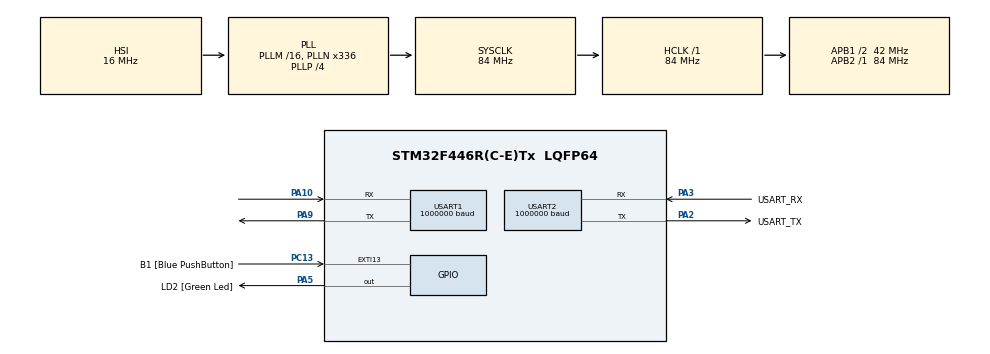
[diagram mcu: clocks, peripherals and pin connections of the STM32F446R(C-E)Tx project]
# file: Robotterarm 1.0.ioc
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Dma.Request0=USART1_RX
Dma.USART1_RX.0.Direction=DMA_PERIPH_TO_MEMORY
Dma.USART1_RX.0.FIFOMode=DMA_FIFOMODE_DISABLE
Dma.USART1_RX.0.Instance=DMA2_Stream2
Dma.USART1_RX.0.MemDataAlignment=DMA_MDATAALIGN_BYTE
Dma.USART1_RX.0.MemInc=DMA_MINC_ENABLE
Dma.USART1_RX.0.Mode=DMA_NORMAL
Dma.USART1_RX.0.PeriphDataAlignment=DMA_PDATAALIGN_BYTE
Dma.USART1_RX.0.PeriphInc=DMA_PINC_DISABLE
Dma.USART1_RX.0.Priority=DMA_PRIORITY_LOW
Mcu.Family=STM32F4
Mcu.Name=STM32F446R(C-E)Tx
Mcu.Package=LQFP64
NVIC.DMA2_Stream2_IRQn=true\:0\:0\:false\:false\:true\:false\:true\:true
NVIC.PriorityGroup=NVIC_PRIORITYGROUP_0
NVIC.TIM4_IRQn=true\:0\:0\:false\:false\:true\:true\:true\:true
NVIC.USART1_IRQn=true\:0\:0\:false\:false\:true\:true\:true\:true
PA10.Mode=Asynchronous
PA10.Signal=USART1_RX
PA13.GPIO_Label=TMS
PA13.Mode=Serial_Wire
PA13.Signal=SYS_JTMS-SWDIO
PA14.GPIO_Label=TCK
PA14.Mode=Serial_Wire
PA14.Signal=SYS_JTCK-SWCLK
PA2.GPIO_Label=USART_TX
PA2.Mode=Asynchronous
PA2.Signal=USART2_TX
PA3.GPIO_Label=USART_RX
PA3.Mode=Asynchronous
PA3.Signal=USART2_RX
PA5.GPIO_Label=LD2 [Green Led]
PA5.Signal=GPIO_Output
PA9.Mode=Asynchronous
PA9.Signal=USART1_TX
PB3.GPIO_Label=SWO
PB3.Signal=SYS_JTDO-SWO
PC13.GPIO_Label=B1 [Blue PushButton]
PC13.GPIO_ModeDefaultEXTI=GPIO_MODE_IT_FALLING
PC13.Signal=GPXTI13
PC14-OSC32_IN.Mode=LSE-External-Oscillator
PC14-OSC32_IN.Signal=RCC_OSC32_IN
PC15-OSC32_OUT.Mode=LSE-External-Oscillator
PC15-OSC32_OUT.Signal=RCC_OSC32_OUT
PH0-OSC_IN.Mode=HSE-External-Oscillator
PH0-OSC_IN.Signal=RCC_OSC_IN
PH1-OSC_OUT.Mode=HSE-External-Oscillator
PH1-OSC_OUT.Signal=RCC_OSC_OUT
ProjectManager.HeapSize=0x200
ProjectManager.StackSize=0x400
ProjectManager.TargetToolchain=STM32CubeIDE
RCC.48MHZClocksFreq_Value=84000000
RCC.AHBFreq_Value=84000000
RCC.APB1CLKDivider=RCC_HCLK_DIV2
RCC.APB1Freq_Value=42000000
RCC.APB1TimFreq_Value=84000000
RCC.APB2Freq_Value=84000000
RCC.APB2TimFreq_Value=84000000
RCC.CortexFreq_Value=84000000
RCC.FLatency-AdvancedSettings=FLASH_LATENCY_2
RCC.HCLKFreq_Value=84000000
RCC.HSE_VALUE=8000000
RCC.HSI_VALUE=16000000
RCC.PLLN=336
RCC.PLLP=RCC_PLLP_DIV4
RCC.SYSCLKFreq_VALUE=84000000
RCC.SYSCLKSource=RCC_SYSCLKSOURCE_PLLCLK
RCC.USBFreq_Value=168000000
RCC.VCOOutputFreq_Value=336000000
TIM4.Period=199
TIM4.Prescaler=8999
USART1.BaudRate=1000000
USART1.VirtualMode=VM_ASYNC
USART2.BaudRate=1000000
USART2.VirtualMode=VM_ASYNC
VP_TIM4_VS_ClockSourceINT.Mode=Internal
board=NUCLEO-F446RE

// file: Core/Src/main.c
/* USER CODE BEGIN Header */
/**
  ******************************************************************************
  * @file           : main.c
  * @brief          : Main program body
  ******************************************************************************
  * @attention
  *
  * Copyright (c) 2026 STMicroelectronics.
  * All rights reserved.
  *
  * This software is licensed under terms that can be found in the LICENSE file
  * in the root directory of this software component.
  * If no LICENSE file comes with this software, it is provided AS-IS.
  *
  ******************************************************************************
  */
/* USER CODE END Header */
#include "main.h"

/* USER CODE BEGIN Includes */
#include <stdio.h>
#include <string.h>
#include "servo.h"

/* USER CODE END Includes */

TIM_HandleTypeDef htim4;

UART_HandleTypeDef huart1;
UART_HandleTypeDef huart2;
DMA_HandleTypeDef hdma_usart1_rx;

/* USER CODE BEGIN PV */
//timer
volatile uint8_t timer_20ms_trigger = 0;
// robot arm instance
ServoArm_t soarm101 = {
		.huart = &huart1,
		.servo_count = 6,
		.servo_first_id = 1
};
/* USER CODE END PV */

void SystemClock_Config(void);
static void MX_GPIO_Init(void);
static void MX_DMA_Init(void);
static void MX_USART1_UART_Init(void);
static void MX_USART2_UART_Init(void);
static void MX_TIM4_Init(void);

int main(void)
{

  /* MCU Configuration--------------------------------------------------------*/

  /* Reset of all peripherals, Initializes the Flash interface and the Systick. */
  HAL_Init();

  /* Configure the system clock */
  SystemClock_Config();

  /* Initialize all configured peripherals */
  MX_GPIO_Init();
  MX_DMA_Init();
  MX_USART1_UART_Init();
  MX_USART2_UART_Init();
  MX_TIM4_Init();
  /* USER CODE BEGIN 2 */
  HAL_Delay(2500);
  HAL_UART_Transmit(&huart2, (uint8_t*)"start\r\n", 7, HAL_MAX_DELAY);
  //start the DMA with interrupts
  HAL_UARTEx_ReceiveToIdle_DMA(soarm101.huart, soarm101.rx_buffer, sizeof(soarm101.rx_buffer));
  //start the tim4 with interrupts
  HAL_TIM_Base_Start_IT(&htim4);

//servo_zero_point_calibration();
//servo_min_max_calibration(motor_buffer, motor_buffer_ready);
//servo_max_torque_initialization();

  /* USER CODE END 2 */

  /* Infinite loop */
  /* USER CODE BEGIN WHILE */
  while (1)
  {
		//sorgt für einen konstanten 20ms Takt der while schleife
		while (timer_20ms_trigger == 0) {}
		timer_20ms_trigger = 0;

		//liest alle Daten der Servos aus
		servo_sync_read(&soarm101, SERVO_REG_CURRENT_LOCATION, 14);

		//schickt alle rellevanten daten alle 25 Zyklen (500ms) an das pc terminal
		terminal_print_servo_data(&soarm101);

		//move the arm
		float angle_2[6] = {35, 20, 20, 20, 20, 20};
		float angle[6] = {0, 0, 0, 0, 0, 0};
		servo_set_all_angle(&soarm101, angle);

		/* USER CODE END WHILE */

	}
}

void SystemClock_Config(void)
{
  RCC_OscInitTypeDef RCC_OscInitStruct = {0};
  RCC_ClkInitTypeDef RCC_ClkInitStruct = {0};

  /** Configure the main internal regulator output voltage
  */
  __HAL_RCC_PWR_CLK_ENABLE();
  __HAL_PWR_VOLTAGESCALING_CONFIG(PWR_REGULATOR_VOLTAGE_SCALE3);

  /** Initializes the RCC Oscillators according to the specified parameters
  * in the RCC_OscInitTypeDef structure.
  */
  RCC_OscInitStruct.OscillatorType = RCC_OSCILLATORTYPE_HSI;
  RCC_OscInitStruct.HSIState = RCC_HSI_ON;
  RCC_OscInitStruct.HSICalibrationValue = RCC_HSICALIBRATION_DEFAULT;
  RCC_OscInitStruct.PLL.PLLState = RCC_PLL_ON;
  RCC_OscInitStruct.PLL.PLLSource = RCC_PLLSOURCE_HSI;
  RCC_OscInitStruct.PLL.PLLM = 16;
  RCC_OscInitStruct.PLL.PLLN = 336;
  RCC_OscInitStruct.PLL.PLLP = RCC_PLLP_DIV4;
  RCC_OscInitStruct.PLL.PLLQ = 2;
  RCC_OscInitStruct.PLL.PLLR = 2;
  if (HAL_RCC_OscConfig(&RCC_OscInitStruct) != HAL_OK)
  {
    Error_Handler();
  }

  /** Initializes the CPU, AHB and APB buses clocks
  */
  RCC_ClkInitStruct.ClockType = RCC_CLOCKTYPE_HCLK|RCC_CLOCKTYPE_SYSCLK
                              |RCC_CLOCKTYPE_PCLK1|RCC_CLOCKTYPE_PCLK2;
  RCC_ClkInitStruct.SYSCLKSource = RCC_SYSCLKSOURCE_PLLCLK;
  RCC_ClkInitStruct.AHBCLKDivider = RCC_SYSCLK_DIV1;
  RCC_ClkInitStruct.APB1CLKDivider = RCC_HCLK_DIV2;
  RCC_ClkInitStruct.APB2CLKDivider = RCC_HCLK_DIV1;

  if (HAL_RCC_ClockConfig(&RCC_ClkInitStruct, FLASH_LATENCY_2) != HAL_OK)
  {
    Error_Handler();
  }
}

static void MX_TIM4_Init(void)
{

  TIM_ClockConfigTypeDef sClockSourceConfig = {0};
  TIM_MasterConfigTypeDef sMasterConfig = {0};

  htim4.Instance = TIM4;
  htim4.Init.Prescaler = 8999;
  htim4.Init.CounterMode = TIM_COUNTERMODE_UP;
  htim4.Init.Period = 199;
  htim4.Init.ClockDivision = TIM_CLOCKDIVISION_DIV1;
  htim4.Init.AutoReloadPreload = TIM_AUTORELOAD_PRELOAD_DISABLE;
  if (HAL_TIM_Base_Init(&htim4) != HAL_OK)
  {
    Error_Handler();
  }
  sClockSourceConfig.ClockSource = TIM_CLOCKSOURCE_INTERNAL;
  if (HAL_TIM_ConfigClockSource(&htim4, &sClockSourceConfig) != HAL_OK)
  {
    Error_Handler();
  }
  sMasterConfig.MasterOutputTrigger = TIM_TRGO_RESET;
  sMasterConfig.MasterSlaveMode = TIM_MASTERSLAVEMODE_DISABLE;
  if (HAL_TIMEx_MasterConfigSynchronization(&htim4, &sMasterConfig) != HAL_OK)
  {
    Error_Handler();
  }

}

static void MX_USART1_UART_Init(void)
{

  huart1.Instance = USART1;
  huart1.Init.BaudRate = 1000000;
  huart1.Init.WordLength = UART_WORDLENGTH_8B;
  huart1.Init.StopBits = UART_STOPBITS_1;
  huart1.Init.Parity = UART_PARITY_NONE;
  huart1.Init.Mode = UART_MODE_TX_RX;
  huart1.Init.HwFlowCtl = UART_HWCONTROL_NONE;
  huart1.Init.OverSampling = UART_OVERSAMPLING_16;
  if (HAL_UART_Init(&huart1) != HAL_OK)
  {
    Error_Handler();
  }

}

static void MX_USART2_UART_Init(void)
{

  huart2.Instance = USART2;
  huart2.Init.BaudRate = 1000000;
  huart2.Init.WordLength = UART_WORDLENGTH_8B;
  huart2.Init.StopBits = UART_STOPBITS_1;
  huart2.Init.Parity = UART_PARITY_NONE;
  huart2.Init.Mode = UART_MODE_TX_RX;
  huart2.Init.HwFlowCtl = UART_HWCONTROL_NONE;
  huart2.Init.OverSampling = UART_OVERSAMPLING_16;
  if (HAL_UART_Init(&huart2) != HAL_OK)
  {
    Error_Handler();
  }

}

static void MX_DMA_Init(void)
{

  /* DMA controller clock enable */
  __HAL_RCC_DMA2_CLK_ENABLE();

  /* DMA interrupt init */
  /* DMA2_Stream2_IRQn interrupt configuration */
  HAL_NVIC_SetPriority(DMA2_Stream2_IRQn, 0, 0);
  HAL_NVIC_EnableIRQ(DMA2_Stream2_IRQn);

}

static void MX_GPIO_Init(void)
{
  GPIO_InitTypeDef GPIO_InitStruct = {0};

  /* GPIO Ports Clock Enable */
  __HAL_RCC_GPIOC_CLK_ENABLE();
  __HAL_RCC_GPIOH_CLK_ENABLE();
  __HAL_RCC_GPIOA_CLK_ENABLE();
  __HAL_RCC_GPIOB_CLK_ENABLE();

  /*Configure GPIO pin Output Level */
  HAL_GPIO_WritePin(LD2_GPIO_Port, LD2_Pin, GPIO_PIN_RESET);

  /*Configure GPIO pin : B1_Pin */
  GPIO_InitStruct.Pin = B1_Pin;
  GPIO_InitStruct.Mode = GPIO_MODE_IT_FALLING;
  GPIO_InitStruct.Pull = GPIO_NOPULL;
  HAL_GPIO_Init(B1_GPIO_Port, &GPIO_InitStruct);

  /*Configure GPIO pin : LD2_Pin */
  GPIO_InitStruct.Pin = LD2_Pin;
  GPIO_InitStruct.Mode = GPIO_MODE_OUTPUT_PP;
  GPIO_InitStruct.Pull = GPIO_NOPULL;
  GPIO_InitStruct.Speed = GPIO_SPEED_FREQ_LOW;
  HAL_GPIO_Init(LD2_GPIO_Port, &GPIO_InitStruct);

}

/* USER CODE BEGIN 4 */
void HAL_TIM_PeriodElapsedCallback(TIM_HandleTypeDef *htim)
{
	if(htim->Instance == TIM4)
	{
		timer_20ms_trigger = 1;
	}
}

void HAL_UARTEx_RxEventCallback(UART_HandleTypeDef *huart, uint16_t Size)
{
	if(huart->Instance == soarm101.huart->Instance)
	{
		uint8_t servo_id = soarm101.rx_buffer[2];
		if(servo_id >= 1 && servo_id <= soarm101.servo_count)
		{
			memcpy(soarm101.servo_buffer[servo_id], soarm101.rx_buffer, Size);
			soarm101.servo_buffer_ready[servo_id] = 1;
		}
	}

	HAL_UARTEx_ReceiveToIdle_DMA(soarm101.huart, soarm101.rx_buffer, sizeof(soarm101.rx_buffer));
}
/* USER CODE END 4 */

void Error_Handler(void)
{
  /* USER CODE BEGIN Error_Handler_Debug */
	servo_write_byte(&soarm101, 0xFE, 0x28, 1, 0);
  /* User can add his own implementation to report the HAL error return state */
  __disable_irq();
  while (1)
  {
  }
  /* USER CODE END Error_Handler_Debug */
}
